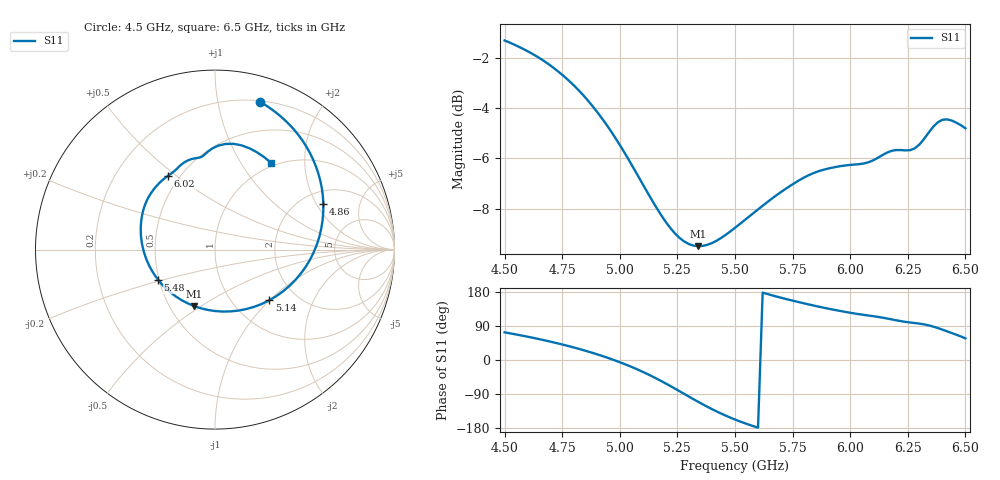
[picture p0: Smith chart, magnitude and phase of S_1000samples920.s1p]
! TOUCHSTONE file generated by CST MICROWAVE STUDIO
! Date and time: Sat Oct 29 19:31:50 2022
! Project name: L.cst
! Parameters = {Di=1.27; Epsilon_r=1.56; InnerDiameter=1.27; Length=2; Lf=10; Lg=60; OuterConductorThickness=0.2921; OuterDiameter=3.6; Wf=3; Wp=41.2; de=1.5; df=6.8; g=0.8; gx=4.07375; gy=1.97367; h=2.34; hf=1.524; px=14.4622; py=12.3014; w=9.7; wx=10.3884; wy=10.3278}
! Header version: 2018
! Port assignment regex: !\s*Touchstone port\s*([0-9]+)\s*=\s*(CST MWS port|CST DS port)\s*([0-9]+|Zmin|Zmax)\s*\(\"(.*)\"\)(\s*mode\s*([0-9]+))?.*
! Touchstone port assignment:
! Touchstone port 1 = CST MWS port 1 ("")
# GHz S DB R 50
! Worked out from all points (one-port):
!   101 points, 4.5 GHz to 6.5 GHz, reference 50 ohm
!   lowest |S11| = -9.5 dB at 5.34 GHz (marker M1), VSWR 2.01, Z = 33 - j23.4 ohm
!   |S11| at or under -10 dB: nowhere
!   S11 on the Smith chart (normalised r, x): 4.5 GHz: 0.21, +1.33; 4.86 GHz: 2.58, +2.29; 5.14 GHz: 1.46, -1.00; 5.48 GHz: 0.49, -0.19; 6.02 GHz: 0.43, +0.47; 6.5 GHz: 0.95, +1.37
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4.5  -1.31 73.0
4.58  -1.64 63.9
4.64  -1.94 56.4
4.76  -2.75 39.4
4.86  -3.68 22.8
4.94  -4.63 7.3
5  -5.46 -5.8
5.08  -6.71 -25.9
5.14  -7.66 -43.0
5.2  -8.53 -62.1
5.26  -9.16 -82.6
5.34  -9.49 -110.3
5.42  -9.27 -135.6
5.48  -8.90 -152.1
5.5  -8.76 -157.0
5.56  -8.32 -170.5
5.62  -7.88 177.8
5.76  -6.97 155.2
5.88  -6.46 138.6
6  -6.26 124.7
6.02  -6.24 122.7
6.14  -5.87 111.8
6.2  -5.66 104.8
6.26  -5.67 99.0
6.34  -4.98 91.5
6.4  -4.46 80.1
6.44  -4.49 71.3
6.5  -4.80 57.1
